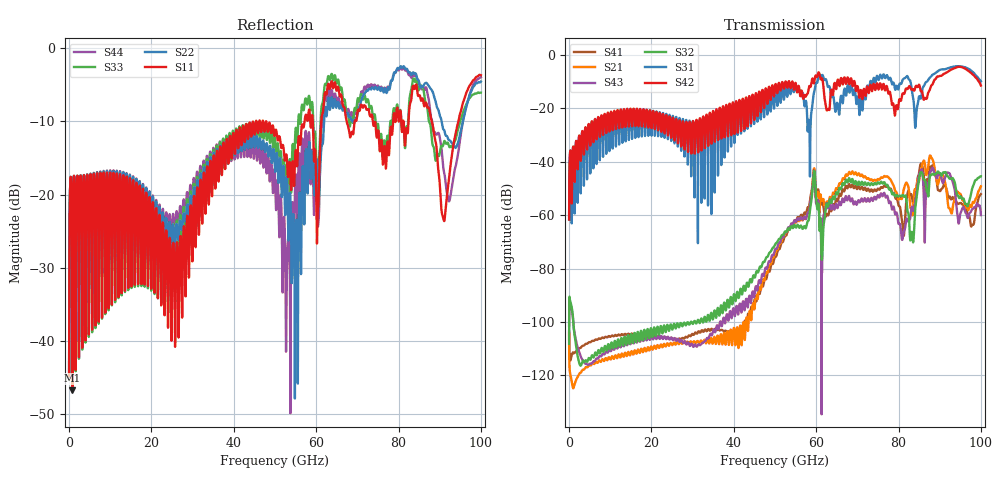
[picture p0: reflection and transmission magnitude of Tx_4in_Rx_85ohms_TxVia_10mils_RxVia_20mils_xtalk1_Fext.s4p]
! Info: Touchstone file created by Circ.  Input file=Tx_4in_Rx_85ohms_TxVia_10mils_RxVia_20mils.circ
# Hz S RI R 50
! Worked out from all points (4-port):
!   10000 points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, 10 MHz to 100 GHz, reference 50 ohm
!   strongest paths, dB at 10 MHz, 25.01 GHz, 50.01 GHz, 75.01 GHz, 100 GHz:
!     S42: -61.6, -25.8, -11.8, -12.2, -11.5
!     S31: -61.6, -25.1, -14.8, -8.7, -9.9
!     S32: -108.2, -102.7, -71.0, -47.7, -45.4
!     S43: -101.4, -106.3, -72.9, -52.5, -60.0
!     S21: -104.4, -108.7, -74.4, -46.5, -49.2
!     S41: -103.6, -106.3, -75.6, -50.1, -52.1
!   lowest |S11| = -46.7 dB at 800 MHz (marker M1), VSWR 1.01, Z = 49.6 - j0.144 ohm
!   |S11| at or under -10 dB: start of sweep to 45.39 GHz; 47.88 GHz to 57.18 GHz (9.293 GHz wide, 17.7 % of centre); 88.09 GHz to 94.55 GHz (6.456 GHz wide, 7.07 % of centre)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
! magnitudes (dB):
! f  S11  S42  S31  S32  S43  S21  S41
! 10 MHz  -44.8  -61.6  -61.6  -108.2  -101.4  -104.4  -103.6
! 800 MHz  -46.7  -39.3  -39.4  -96.1  -96.7  -123.7  -111.8
! 48.43 GHz  -10.9  -12.8  -15.5  -74.8  -77.6  -79.7  -81.1
! 59.34 GHz  -13.0  -10.2  -15.1  -45.6  -45.2  -44.4  -44.1
! 83.23 GHz  -6.3  -12.9  -13.3  -66.3  -56.8  -58.2  -53.0
! 85.45 GHz  -7.1  -13.7  -16.1  -44.0  -43.2  -43.0  -40.7
! 100 GHz  -3.7  -11.5  -9.9  -45.4  -60.0  -49.2  -52.1
